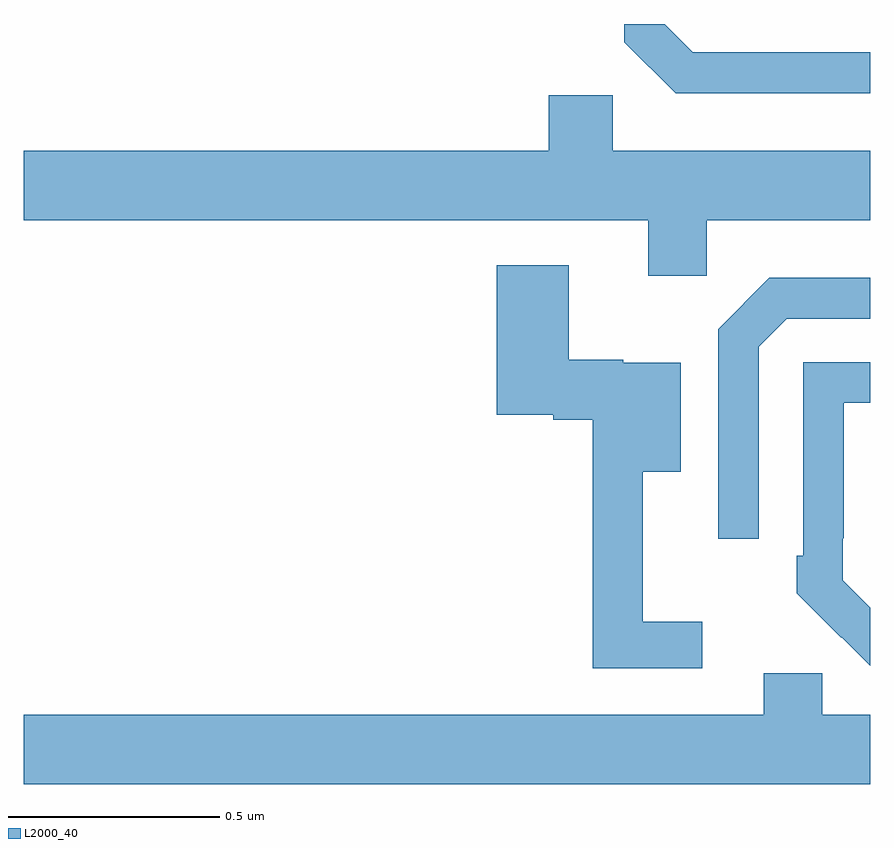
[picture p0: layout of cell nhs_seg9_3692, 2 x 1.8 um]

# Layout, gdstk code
import gdstk
lib = gdstk.Library(unit=1e-6, precision=1e-09)
def P(c, l, *ps):  # polygons
    for p in ps: c.add(gdstk.Polygon(p, *l))
L2000_40 = (2000, 40)

nhs_seg9_3692 = lib.new_cell('nhs_seg9_3692')
P(nhs_seg9_3692, L2000_40, [(158,1247.433),(157.581,1247.433),(157.515,1247.499),(157.515,1247.5),(157.419,1247.5),(157.419,1247.457),(157.54,1247.336),(158,1247.336)],
  [(157.614,1247.036),(158,1247.036),(158,1247.2),(157.392,1247.2),(157.392,1247.332),(157.241,1247.332),(157.241,1247.2),(156,1247.2),(156,1247.036),(157.475,1247.036),(157.475,1246.905),(157.614,1246.905)],
  [(157.603,1246.087),(157.463,1246.087),(157.463,1246.442),(157.552,1246.442),(157.552,1246.699),(157.416,1246.699),(157.416,1246.707),(157.288,1246.707),(157.288,1246.93),(157.118,1246.93),(157.118,1246.577),(157.251,1246.577),(157.251,1246.565),(157.345,1246.565),(157.345,1245.978),(157.603,1245.978)],
  [(157.737,1246.737),(157.803,1246.803),(158,1246.803),(158,1246.9),(157.762,1246.9),(157.641,1246.779),(157.641,1246.284),(157.737,1246.284)],
  [(158,1246.121),(157.935,1246.185),(157.935,1246.285),(157.938,1246.285),(157.938,1246.605),(158,1246.605),(158,1246.701),(157.842,1246.701),(157.842,1246.243),(157.827,1246.243),(157.827,1246.155),(157.932,1246.05),(157.933,1246.051),(158,1245.984)],
  [(158,1245.868),(157.887,1245.868),(157.887,1245.966),(157.748,1245.966),(157.748,1245.868),(156,1245.868),(156,1245.704),(158,1245.704)])

lib.write_gds('nhs_seg9_3692.gds')
